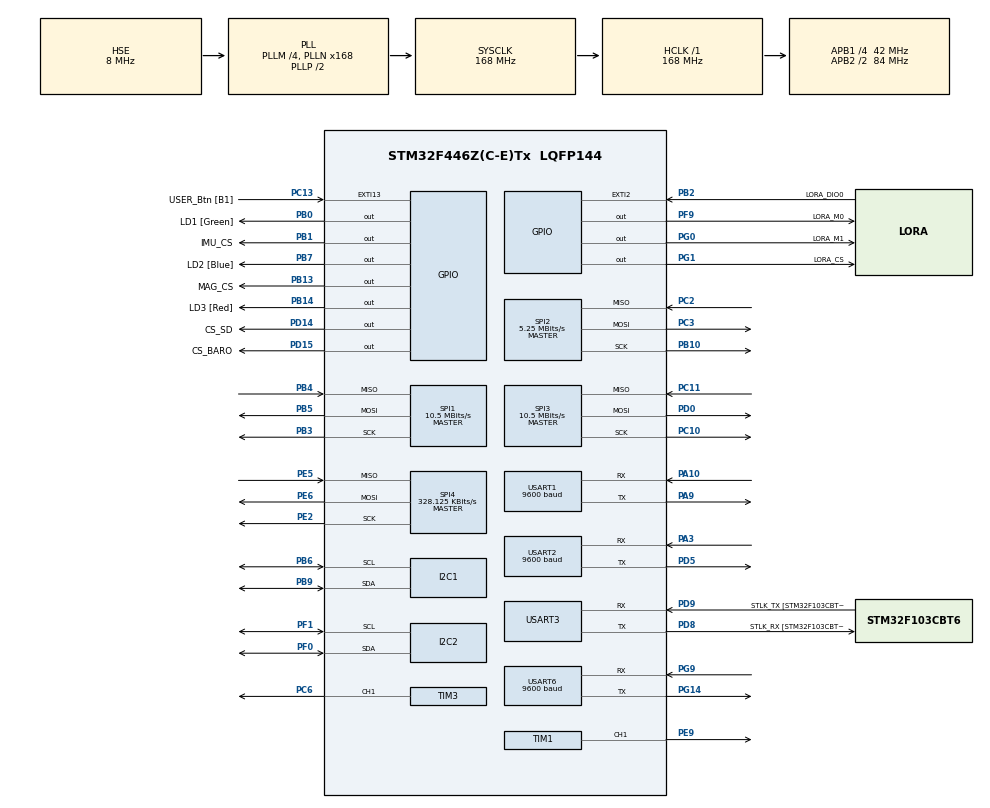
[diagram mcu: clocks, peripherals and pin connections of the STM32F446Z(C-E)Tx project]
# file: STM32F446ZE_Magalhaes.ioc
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Dma.I2C1_RX.5.Direction=DMA_PERIPH_TO_MEMORY
Dma.I2C1_RX.5.FIFOMode=DMA_FIFOMODE_DISABLE
Dma.I2C1_RX.5.Instance=DMA1_Stream0
Dma.I2C1_RX.5.MemDataAlignment=DMA_MDATAALIGN_BYTE
Dma.I2C1_RX.5.MemInc=DMA_MINC_ENABLE
Dma.I2C1_RX.5.Mode=DMA_NORMAL
Dma.I2C1_RX.5.PeriphDataAlignment=DMA_PDATAALIGN_BYTE
Dma.I2C1_RX.5.PeriphInc=DMA_PINC_DISABLE
Dma.I2C1_RX.5.Priority=DMA_PRIORITY_LOW
Dma.I2C1_TX.6.Direction=DMA_MEMORY_TO_PERIPH
Dma.I2C1_TX.6.FIFOMode=DMA_FIFOMODE_DISABLE
Dma.I2C1_TX.6.Instance=DMA1_Stream6
Dma.I2C1_TX.6.MemDataAlignment=DMA_MDATAALIGN_BYTE
Dma.I2C1_TX.6.MemInc=DMA_MINC_ENABLE
Dma.I2C1_TX.6.Mode=DMA_NORMAL
Dma.I2C1_TX.6.PeriphDataAlignment=DMA_PDATAALIGN_BYTE
Dma.I2C1_TX.6.PeriphInc=DMA_PINC_DISABLE
Dma.I2C1_TX.6.Priority=DMA_PRIORITY_LOW
Dma.Request0=SPI2_RX
Dma.Request1=SPI2_TX
Dma.Request10=SPI1_RX
Dma.Request11=SPI1_TX
Dma.Request12=USART2_RX
Dma.Request13=USART6_RX
Dma.Request14=USART6_TX
Dma.Request2=USART3_RX
Dma.Request3=SPI3_RX
Dma.Request4=SPI3_TX
Dma.Request5=I2C1_RX
Dma.Request6=I2C1_TX
Dma.Request7=SPI4_RX
Dma.Request8=SPI4_TX
Dma.Request9=USART1_RX
Dma.SPI1_RX.10.Direction=DMA_PERIPH_TO_MEMORY
Dma.SPI1_RX.10.FIFOMode=DMA_FIFOMODE_DISABLE
Dma.SPI1_RX.10.Instance=DMA2_Stream2
Dma.SPI1_RX.10.MemDataAlignment=DMA_MDATAALIGN_BYTE
Dma.SPI1_RX.10.MemInc=DMA_MINC_ENABLE
Dma.SPI1_RX.10.Mode=DMA_NORMAL
Dma.SPI1_RX.10.PeriphDataAlignment=DMA_PDATAALIGN_BYTE
Dma.SPI1_RX.10.PeriphInc=DMA_PINC_DISABLE
Dma.SPI1_RX.10.Priority=DMA_PRIORITY_LOW
Dma.SPI1_TX.11.Direction=DMA_MEMORY_TO_PERIPH
Dma.SPI1_TX.11.FIFOMode=DMA_FIFOMODE_DISABLE
Dma.SPI1_TX.11.Instance=DMA2_Stream3
Dma.SPI1_TX.11.MemDataAlignment=DMA_MDATAALIGN_BYTE
Dma.SPI1_TX.11.MemInc=DMA_MINC_ENABLE
Dma.SPI1_TX.11.Mode=DMA_NORMAL
Dma.SPI1_TX.11.PeriphDataAlignment=DMA_PDATAALIGN_BYTE
Dma.SPI1_TX.11.PeriphInc=DMA_PINC_DISABLE
Dma.SPI1_TX.11.Priority=DMA_PRIORITY_LOW
Dma.SPI2_RX.0.Direction=DMA_PERIPH_TO_MEMORY
Dma.SPI2_RX.0.FIFOMode=DMA_FIFOMODE_DISABLE
Dma.SPI2_RX.0.Instance=DMA1_Stream3
Dma.SPI2_RX.0.MemDataAlignment=DMA_MDATAALIGN_BYTE
Dma.SPI2_RX.0.MemInc=DMA_MINC_ENABLE
Dma.SPI2_RX.0.Mode=DMA_NORMAL
Dma.SPI2_RX.0.PeriphDataAlignment=DMA_PDATAALIGN_BYTE
Dma.SPI2_RX.0.PeriphInc=DMA_PINC_DISABLE
Dma.SPI2_RX.0.Priority=DMA_PRIORITY_LOW
Dma.SPI2_TX.1.Direction=DMA_MEMORY_TO_PERIPH
Dma.SPI2_TX.1.FIFOMode=DMA_FIFOMODE_DISABLE
Dma.SPI2_TX.1.Instance=DMA1_Stream4
Dma.SPI2_TX.1.MemDataAlignment=DMA_MDATAALIGN_BYTE
Dma.SPI2_TX.1.MemInc=DMA_MINC_ENABLE
Dma.SPI2_TX.1.Mode=DMA_NORMAL
Dma.SPI2_TX.1.PeriphDataAlignment=DMA_PDATAALIGN_BYTE
Dma.SPI2_TX.1.PeriphInc=DMA_PINC_DISABLE
Dma.SPI2_TX.1.Priority=DMA_PRIORITY_LOW
Dma.SPI3_RX.3.Direction=DMA_PERIPH_TO_MEMORY
Dma.SPI3_RX.3.FIFOMode=DMA_FIFOMODE_DISABLE
Dma.SPI3_RX.3.Instance=DMA1_Stream2
Dma.SPI3_RX.3.MemDataAlignment=DMA_MDATAALIGN_BYTE
Dma.SPI3_RX.3.MemInc=DMA_MINC_ENABLE
Dma.SPI3_RX.3.Mode=DMA_NORMAL
Dma.SPI3_RX.3.PeriphDataAlignment=DMA_PDATAALIGN_BYTE
Dma.SPI3_RX.3.PeriphInc=DMA_PINC_DISABLE
Dma.SPI3_RX.3.Priority=DMA_PRIORITY_LOW
Dma.SPI3_TX.4.Direction=DMA_MEMORY_TO_PERIPH
Dma.SPI3_TX.4.FIFOMode=DMA_FIFOMODE_DISABLE
Dma.SPI3_TX.4.Instance=DMA1_Stream7
Dma.SPI3_TX.4.MemDataAlignment=DMA_MDATAALIGN_BYTE
Dma.SPI3_TX.4.MemInc=DMA_MINC_ENABLE
Dma.SPI3_TX.4.Mode=DMA_NORMAL
Dma.SPI3_TX.4.PeriphDataAlignment=DMA_PDATAALIGN_BYTE
Dma.SPI3_TX.4.PeriphInc=DMA_PINC_DISABLE
Dma.SPI3_TX.4.Priority=DMA_PRIORITY_LOW
Dma.SPI4_RX.7.Direction=DMA_PERIPH_TO_MEMORY
Dma.SPI4_RX.7.FIFOMode=DMA_FIFOMODE_DISABLE
Dma.SPI4_RX.7.Instance=DMA2_Stream0
Dma.SPI4_RX.7.MemDataAlignment=DMA_MDATAALIGN_BYTE
Dma.SPI4_RX.7.MemInc=DMA_MINC_ENABLE
Dma.SPI4_RX.7.Mode=DMA_NORMAL
Dma.SPI4_RX.7.PeriphDataAlignment=DMA_PDATAALIGN_BYTE
Dma.SPI4_RX.7.PeriphInc=DMA_PINC_DISABLE
Dma.SPI4_RX.7.Priority=DMA_PRIORITY_LOW
Dma.SPI4_TX.8.Direction=DMA_MEMORY_TO_PERIPH
Dma.SPI4_TX.8.FIFOMode=DMA_FIFOMODE_DISABLE
Dma.SPI4_TX.8.Instance=DMA2_Stream4
Dma.SPI4_TX.8.MemDataAlignment=DMA_MDATAALIGN_BYTE
Dma.SPI4_TX.8.MemInc=DMA_MINC_ENABLE
Dma.SPI4_TX.8.Mode=DMA_NORMAL
Dma.SPI4_TX.8.PeriphDataAlignment=DMA_PDATAALIGN_BYTE
Dma.SPI4_TX.8.PeriphInc=DMA_PINC_DISABLE
Dma.SPI4_TX.8.Priority=DMA_PRIORITY_LOW
Dma.USART1_RX.9.Direction=DMA_PERIPH_TO_MEMORY
Dma.USART1_RX.9.FIFOMode=DMA_FIFOMODE_DISABLE
Dma.USART1_RX.9.Instance=DMA2_Stream5
Dma.USART1_RX.9.MemDataAlignment=DMA_MDATAALIGN_BYTE
Dma.USART1_RX.9.MemInc=DMA_MINC_ENABLE
Dma.USART1_RX.9.Mode=DMA_CIRCULAR
Dma.USART1_RX.9.PeriphDataAlignment=DMA_PDATAALIGN_BYTE
Dma.USART1_RX.9.PeriphInc=DMA_PINC_DISABLE
Dma.USART1_RX.9.Priority=DMA_PRIORITY_LOW
Dma.USART2_RX.12.Direction=DMA_PERIPH_TO_MEMORY
Dma.USART2_RX.12.FIFOMode=DMA_FIFOMODE_DISABLE
Dma.USART2_RX.12.Instance=DMA1_Stream5
Dma.USART2_RX.12.MemDataAlignment=DMA_MDATAALIGN_BYTE
Dma.USART2_RX.12.MemInc=DMA_MINC_ENABLE
Dma.USART2_RX.12.Mode=DMA_CIRCULAR
Dma.USART2_RX.12.PeriphDataAlignment=DMA_PDATAALIGN_BYTE
Dma.USART2_RX.12.PeriphInc=DMA_PINC_DISABLE
Dma.USART2_RX.12.Priority=DMA_PRIORITY_MEDIUM
Dma.USART3_RX.2.Direction=DMA_PERIPH_TO_MEMORY
Dma.USART3_RX.2.FIFOMode=DMA_FIFOMODE_DISABLE
Dma.USART3_RX.2.Instance=DMA1_Stream1
Dma.USART3_RX.2.MemDataAlignment=DMA_MDATAALIGN_BYTE
Dma.USART3_RX.2.MemInc=DMA_MINC_ENABLE
Dma.USART3_RX.2.Mode=DMA_CIRCULAR
Dma.USART3_RX.2.PeriphDataAlignment=DMA_PDATAALIGN_BYTE
Dma.USART3_RX.2.PeriphInc=DMA_PINC_DISABLE
Dma.USART3_RX.2.Priority=DMA_PRIORITY_LOW
Dma.USART6_RX.13.Direction=DMA_PERIPH_TO_MEMORY
Dma.USART6_RX.13.FIFOMode=DMA_FIFOMODE_DISABLE
Dma.USART6_RX.13.Instance=DMA2_Stream1
Dma.USART6_RX.13.MemDataAlignment=DMA_MDATAALIGN_BYTE
Dma.USART6_RX.13.MemInc=DMA_MINC_ENABLE
Dma.USART6_RX.13.Mode=DMA_CIRCULAR
Dma.USART6_RX.13.PeriphDataAlignment=DMA_PDATAALIGN_BYTE
Dma.USART6_RX.13.PeriphInc=DMA_PINC_DISABLE
Dma.USART6_RX.13.Priority=DMA_PRIORITY_MEDIUM
Dma.USART6_TX.14.Direction=DMA_MEMORY_TO_PERIPH
Dma.USART6_TX.14.FIFOMode=DMA_FIFOMODE_DISABLE
Dma.USART6_TX.14.Instance=DMA2_Stream6
Dma.USART6_TX.14.MemDataAlignment=DMA_MDATAALIGN_BYTE
Dma.USART6_TX.14.MemInc=DMA_MINC_ENABLE
Dma.USART6_TX.14.Mode=DMA_NORMAL
Dma.USART6_TX.14.PeriphDataAlignment=DMA_PDATAALIGN_BYTE
Dma.USART6_TX.14.PeriphInc=DMA_PINC_DISABLE
Dma.USART6_TX.14.Priority=DMA_PRIORITY_LOW
FATFS._FS_LOCK=15
FATFS._FS_NORTC=1
FATFS._MAX_SS=4096
FATFS._USE_LFN=2
FATFS._USE_MUTEX=1
FREERTOS.Tasks01=defaultTask,24,128,StartDefaultTask,Default,NULL,Dynamic,NULL,NULL
FREERTOS.configENABLE_FPU=1
FREERTOS.configGENERATE_RUN_TIME_STATS=1
FREERTOS.configMAX_TASK_NAME_LEN=32
FREERTOS.configQUEUE_REGISTRY_SIZE=16
FREERTOS.configRECORD_STACK_HIGH_ADDRESS=1
FREERTOS.configTOTAL_HEAP_SIZE=55000
FREERTOS.configUSE_NEWLIB_REENTRANT=1
I2C1.I2C_Mode=I2C_Fast
I2C2.I2C_Mode=I2C_Fast
Mcu.Family=STM32F4
Mcu.Name=STM32F446Z(C-E)Tx
Mcu.Package=LQFP144
NVIC.DMA1_Stream0_IRQn=true\:5\:0\:false\:false\:true\:true\:false\:true\:true
NVIC.DMA1_Stream1_IRQn=true\:5\:0\:false\:false\:true\:true\:false\:true\:true
NVIC.DMA1_Stream2_IRQn=true\:5\:0\:false\:false\:true\:true\:false\:true\:true
NVIC.DMA1_Stream3_IRQn=true\:5\:0\:false\:false\:true\:true\:false\:true\:true
NVIC.DMA1_Stream4_IRQn=true\:5\:0\:false\:false\:true\:true\:false\:true\:true
NVIC.DMA1_Stream5_IRQn=true\:5\:0\:false\:false\:true\:true\:false\:true\:true
NVIC.DMA1_Stream6_IRQn=true\:5\:0\:false\:false\:true\:true\:false\:true\:true
NVIC.DMA1_Stream7_IRQn=true\:5\:0\:false\:false\:true\:false\:false\:true\:true
NVIC.DMA2_Stream0_IRQn=true\:5\:0\:false\:false\:true\:true\:false\:true\:true
NVIC.DMA2_Stream1_IRQn=true\:5\:0\:false\:false\:true\:true\:false\:true\:true
NVIC.DMA2_Stream2_IRQn=true\:5\:0\:false\:false\:true\:true\:false\:true\:true
NVIC.DMA2_Stream3_IRQn=true\:5\:0\:false\:false\:true\:true\:false\:true\:true
NVIC.DMA2_Stream4_IRQn=true\:5\:0\:false\:false\:true\:false\:false\:true\:true
NVIC.DMA2_Stream5_IRQn=true\:5\:0\:false\:false\:true\:true\:false\:true\:true
NVIC.DMA2_Stream6_IRQn=true\:5\:0\:false\:false\:true\:true\:false\:true\:true
NVIC.EXTI15_10_IRQn=true\:5\:0\:false\:false\:true\:true\:true\:true\:true
NVIC.EXTI2_IRQn=true\:5\:0\:true\:false\:true\:true\:true\:true\:true
NVIC.I2C1_EV_IRQn=true\:5\:0\:false\:false\:true\:true\:true\:true\:true
NVIC.PriorityGroup=NVIC_PRIORITYGROUP_4
NVIC.SPI1_IRQn=true\:5\:0\:false\:false\:true\:true\:true\:true\:true
NVIC.SPI3_IRQn=true\:5\:0\:false\:false\:true\:true\:true\:true\:true
NVIC.SPI4_IRQn=true\:5\:0\:false\:false\:true\:true\:true\:true\:true
NVIC.TIM2_IRQn=true\:5\:0\:false\:false\:true\:true\:true\:true\:true
NVIC.TIM4_IRQn=true\:15\:0\:false\:false\:true\:false\:false\:true\:true
NVIC.TimeBase=TIM4_IRQn
NVIC.TimeBaseIP=TIM4
NVIC.USART1_IRQn=true\:5\:0\:false\:false\:true\:true\:true\:true\:true
NVIC.USART2_IRQn=true\:5\:0\:false\:false\:true\:true\:true\:true\:true
NVIC.USART3_IRQn=true\:5\:0\:false\:false\:true\:true\:true\:true\:true
NVIC.USART6_IRQn=true\:5\:0\:false\:false\:true\:true\:true\:true\:true
PA10.Mode=Asynchronous
PA10.Signal=USART1_RX
PA13.GPIO_Label=TMS
PA13.Mode=Serial_Wire
PA13.Signal=SYS_JTMS-SWDIO
PA14.GPIO_Label=TCK
PA14.Mode=Serial_Wire
PA14.Signal=SYS_JTCK-SWCLK
PA3.Mode=Asynchronous
PA3.Signal=USART2_RX
PA9.Mode=Asynchronous
PA9.Signal=USART1_TX
PB0.GPIO_Label=LD1 [Green]
PB0.Signal=GPIO_Output
PB1.GPIO_Label=IMU_CS
PB1.GPIO_ModeDefaultOutputPP=GPIO_MODE_OUTPUT_PP
PB1.GPIO_Speed=GPIO_SPEED_FREQ_VERY_HIGH
PB1.PinState=GPIO_PIN_RESET
PB1.Signal=GPIO_Output
PB10.Mode=Full_Duplex_Master
PB10.Signal=SPI2_SCK
PB13.GPIO_Label=MAG_CS
PB13.GPIO_Speed=GPIO_SPEED_FREQ_VERY_HIGH
PB13.PinState=GPIO_PIN_SET
PB13.Signal=GPIO_Output
PB14.GPIO_Label=LD3 [Red]
PB14.Signal=GPIO_Output
PB2.GPIO_Label=LORA_DIO0
PB2.GPIO_PuPd=GPIO_NOPULL
PB2.Signal=GPXTI2
PB3.GPIO_PuPd=GPIO_NOPULL
PB3.Mode=Full_Duplex_Master
PB3.Signal=SPI1_SCK
PB4.GPIO_PuPd=GPIO_NOPULL
PB4.Mode=Full_Duplex_Master
PB4.Signal=SPI1_MISO
PB5.GPIO_PuPd=GPIO_NOPULL
PB5.Mode=Full_Duplex_Master
PB5.Signal=SPI1_MOSI
PB6.GPIO_Pu=GPIO_PULLUP
PB6.Mode=I2C
PB6.Signal=I2C1_SCL
PB7.GPIO_Label=LD2 [Blue]
PB7.Signal=GPIO_Output
PB9.GPIO_Pu=GPIO_NOPULL
PB9.Mode=I2C
PB9.Signal=I2C1_SDA
PC10.Mode=Full_Duplex_Master
PC10.Signal=SPI3_SCK
PC11.Mode=Full_Duplex_Master
PC11.Signal=SPI3_MISO
PC13.GPIO_Label=USER_Btn [B1]
PC13.Signal=GPXTI13
PC2.Mode=Full_Duplex_Master
PC2.Signal=SPI2_MISO
PC3.Mode=Full_Duplex_Master
PC3.Signal=SPI2_MOSI
PC6.Signal=S_TIM3_CH1
PD0.Mode=Full_Duplex_Master
PD0.Signal=SPI3_MOSI
PD14.GPIO_Label=CS_SD
PD14.Signal=GPIO_Output
PD15.GPIO_Label=CS_BARO
PD15.Signal=GPIO_Output
PD5.Mode=Asynchronous
PD5.Signal=USART2_TX
PD8.GPIO_Label=STLK_RX [STM32F103CBT6_PA3]
PD8.Mode=Asynchronous
PD8.Signal=USART3_TX
PD9.GPIO_Label=STLK_TX [STM32F103CBT6_PA2]
PD9.Mode=Asynchronous
PD9.Signal=USART3_RX
PE2.GPIO_PuPd=GPIO_PULLUP
PE2.Mode=Full_Duplex_Master
PE2.Signal=SPI4_SCK
PE5.GPIO_PuPd=GPIO_PULLUP
PE5.Mode=Full_Duplex_Master
PE5.Signal=SPI4_MISO
PE6.GPIO_PuPd=GPIO_PULLUP
PE6.Mode=Full_Duplex_Master
PE6.Signal=SPI4_MOSI
PE9.Signal=S_TIM1_CH1
PF0.GPIO_Pu=GPIO_PULLUP
PF0.Mode=I2C
PF0.Signal=I2C2_SDA
PF1.GPIO_Pu=GPIO_PULLUP
PF1.Mode=I2C
PF1.Signal=I2C2_SCL
PF9.GPIO_Label=LORA_M0
PF9.GPIO_Speed=GPIO_SPEED_FREQ_VERY_HIGH
PF9.PinState=GPIO_PIN_SET
PF9.Signal=GPIO_Output
PG0.GPIO_Label=LORA_M1
PG0.GPIO_Speed=GPIO_SPEED_FREQ_VERY_HIGH
PG0.PinState=GPIO_PIN_SET
PG0.Signal=GPIO_Output
PG1.GPIO_Label=LORA_CS
PG1.GPIO_Speed=GPIO_SPEED_FREQ_VERY_HIGH
PG1.PinState=GPIO_PIN_SET
PG1.Signal=GPIO_Output
PG14.Mode=Asynchronous
PG14.Signal=USART6_TX
PG9.Mode=Asynchronous
PG9.Signal=USART6_RX
PH0-OSC_IN.GPIO_Label=MCO [STM32F103CBT6_PA8]
PH0-OSC_IN.Mode=HSE-External-Clock-Source
PH0-OSC_IN.Signal=RCC_OSC_IN
PH1-OSC_OUT.Mode=HSE-External-Clock-Source
PH1-OSC_OUT.Signal=RCC_OSC_OUT
ProjectManager.HeapSize=0x200
ProjectManager.StackSize=0x400
ProjectManager.TargetToolchain=STM32CubeIDE
RCC.48MHZClocksFreq_Value=24000000
RCC.AHBFreq_Value=168000000
RCC.APB1CLKDivider=RCC_HCLK_DIV4
RCC.APB1Freq_Value=42000000
RCC.APB1TimFreq_Value=84000000
RCC.APB2CLKDivider=RCC_HCLK_DIV2
RCC.APB2Freq_Value=84000000
RCC.APB2TimFreq_Value=168000000
RCC.CortexFreq_Value=168000000
RCC.HCLKFreq_Value=168000000
RCC.HSE_VALUE=8000000
RCC.HSI_VALUE=16000000
RCC.PLLM=4
RCC.PLLMUL=RCC_PLL_MUL9
RCC.PLLN=168
RCC.PLLQ=7
RCC.PLLSourceVirtual=RCC_PLLSOURCE_HSE
RCC.PRESCALERUSB=RCC_USBCLKSOURCE_PLL_DIV1_5
RCC.SYSCLKFreq_VALUE=168000000
RCC.SYSCLKSource=RCC_SYSCLKSOURCE_PLLCLK
RCC.SYSCLKSourceVirtual=RCC_SYSCLKSOURCE_PLLCLK
RCC.USBFreq_Value=48000000
RCC.VCOOutputFreq_Value=336000000
SH.S_TIM1_CH1.0=TIM1_CH1,PWM Generation1 CH1
SH.S_TIM3_CH1.0=TIM3_CH1,PWM Generation1 CH1
SPI1.BaudRatePrescaler=SPI_BAUDRATEPRESCALER_8
SPI1.CLKPhase=SPI_PHASE_2EDGE
SPI1.CLKPolarity=SPI_POLARITY_HIGH
SPI1.CalculateBaudRate=10.5 MBits/s
SPI1.Direction=SPI_DIRECTION_2LINES
SPI1.Mode=SPI_MODE_MASTER
SPI1.VirtualType=VM_MASTER
SPI2.BaudRatePrescaler=SPI_BAUDRATEPRESCALER_8
SPI2.CalculateBaudRate=5.25 MBits/s
SPI2.Direction=SPI_DIRECTION_2LINES
SPI2.Mode=SPI_MODE_MASTER
SPI2.VirtualType=VM_MASTER
SPI3.BaudRatePrescaler=SPI_BAUDRATEPRESCALER_4
SPI3.CLKPhase=SPI_PHASE_1EDGE
SPI3.CLKPolarity=SPI_POLARITY_LOW
SPI3.CalculateBaudRate=10.5 MBits/s
SPI3.Direction=SPI_DIRECTION_2LINES
SPI3.Mode=SPI_MODE_MASTER
SPI3.VirtualType=VM_MASTER
SPI4.BaudRatePrescaler=SPI_BAUDRATEPRESCALER_256
SPI4.CalculateBaudRate=328.125 KBits/s
SPI4.Direction=SPI_DIRECTION_2LINES
SPI4.Mode=SPI_MODE_MASTER
SPI4.VirtualType=VM_MASTER
TIM1.Channel-PWM\ Generation1\ CH1=TIM_CHANNEL_1
TIM1.Period=20000
TIM1.Prescaler=167
TIM1.Pulse-PWM\ Generation1\ CH1=1500
TIM2.AutoReloadPreload=TIM_AUTORELOAD_PRELOAD_ENABLE
TIM2.Period=1000
TIM2.Prescaler=83
TIM3.Channel-PWM\ Generation1\ CH1=TIM_CHANNEL_1
TIM3.Period=20000-1
TIM3.Prescaler=84-1
TIM3.Pulse-PWM\ Generation1\ CH1=0
USART1.BaudRate=9600
USART1.VirtualMode=VM_ASYNC
USART2.BaudRate=9600
USART2.VirtualMode=VM_ASYNC
USART3.VirtualMode=VM_ASYNC
USART6.BaudRate=9600
USART6.VirtualMode=VM_ASYNC
VP_FATFS_VS_Generic.Mode=User_defined
VP_FREERTOS_VS_CMSIS_V2.Mode=CMSIS_V2
VP_SYS_VS_tim4.Mode=TIM4
VP_TIM1_VS_ClockSourceINT.Mode=Internal
VP_TIM2_VS_ClockSourceINT.Mode=Internal
VP_TIM3_VS_ClockSourceINT.Mode=Internal
board=NUCLEO-F446ZE

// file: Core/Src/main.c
/* USER CODE BEGIN Header */
/**
  ******************************************************************************
  * @file           : main.c
  * @brief          : Main program body
  ******************************************************************************
  * @attention
  *
  * Copyright (c) 2025 STMicroelectronics.
  * All rights reserved.
  *
  * This software is licensed under terms that can be found in the LICENSE file
  * in the root directory of this software component.
  * If no LICENSE file comes with this software, it is provided AS-IS.
  *
  ******************************************************************************
  */
/* USER CODE END Header */
#include "main.h"
#include "cmsis_os.h"
#include "fatfs.h"

/* USER CODE BEGIN Includes */
#include "Flight Computer/flight_computer.h"
#include "Threads/create_threads.h"
#include "retarget.h"
#include "Data Handler/flash_data_handler.h"
/* USER CODE END Includes */

I2C_HandleTypeDef hi2c1;
I2C_HandleTypeDef hi2c2;
DMA_HandleTypeDef hdma_i2c1_rx;
DMA_HandleTypeDef hdma_i2c1_tx;

SPI_HandleTypeDef hspi1;
SPI_HandleTypeDef hspi2;
SPI_HandleTypeDef hspi3;
SPI_HandleTypeDef hspi4;
DMA_HandleTypeDef hdma_spi1_rx;
DMA_HandleTypeDef hdma_spi1_tx;
DMA_HandleTypeDef hdma_spi2_rx;
DMA_HandleTypeDef hdma_spi2_tx;
DMA_HandleTypeDef hdma_spi3_rx;
DMA_HandleTypeDef hdma_spi3_tx;
DMA_HandleTypeDef hdma_spi4_rx;
DMA_HandleTypeDef hdma_spi4_tx;

TIM_HandleTypeDef htim1;
TIM_HandleTypeDef htim2;
TIM_HandleTypeDef htim3;

UART_HandleTypeDef huart1;
UART_HandleTypeDef huart2;
UART_HandleTypeDef huart3;
UART_HandleTypeDef huart6;
DMA_HandleTypeDef hdma_usart1_rx;
DMA_HandleTypeDef hdma_usart2_rx;
DMA_HandleTypeDef hdma_usart3_rx;
DMA_HandleTypeDef hdma_usart6_rx;
DMA_HandleTypeDef hdma_usart6_tx;

/* Definitions for defaultTask */
osThreadId_t defaultTaskHandle;
const osThreadAttr_t defaultTask_attributes = {
  .name = "defaultTask",
  .stack_size = 128 * 4,
  .priority = (osPriority_t) osPriorityNormal,
};

void SystemClock_Config(void);
static void MX_GPIO_Init(void);
static void MX_DMA_Init(void);
static void MX_USART3_UART_Init(void);
static void MX_SPI1_Init(void);
static void MX_SPI2_Init(void);
static void MX_I2C1_Init(void);
static void MX_TIM1_Init(void);
static void MX_TIM2_Init(void);
static void MX_TIM3_Init(void);
static void MX_USART1_UART_Init(void);
static void MX_SPI3_Init(void);
static void MX_SPI4_Init(void);
static void MX_USART2_UART_Init(void);
static void MX_USART6_UART_Init(void);
static void MX_I2C2_Init(void);
void StartDefaultTask(void *argument);

int main(void)
{

  /* MCU Configuration--------------------------------------------------------*/

  /* Reset of all peripherals, Initializes the Flash interface and the Systick. */
  HAL_Init();

  /* Configure the system clock */
  SystemClock_Config();

  /* Initialize all configured peripherals */
  MX_GPIO_Init();
  MX_DMA_Init();
  MX_USART3_UART_Init();
  MX_FATFS_Init();
  MX_SPI1_Init();
  MX_SPI2_Init();
  MX_I2C1_Init();
  MX_TIM1_Init();
  MX_TIM2_Init();
  MX_TIM3_Init();
  MX_USART1_UART_Init();
  MX_SPI3_Init();
  MX_SPI4_Init();
  MX_USART2_UART_Init();
  MX_USART6_UART_Init();
  MX_I2C2_Init();
  /* USER CODE BEGIN 2 */
  // PWM Debug Test at startup - check PC6 output with oscilloscope
  // Comment out after debugging!
  //extern void PWM_DebugTest(void);
  //PWM_DebugTest();
  /* USER CODE END 2 */

  /* Init scheduler */
  osKernelInitialize();

  /* Create the thread(s) */
  /* creation of defaultTask */
  defaultTaskHandle = osThreadNew(StartDefaultTask, NULL, &defaultTask_attributes);

  /* USER CODE BEGIN RTOS_THREADS */
  /* add threads, ... */
  RetargetInit(UART_DEBUG);
  //fsm_init(); // MOVER PARA A THREAD????
  create_threads();
  /* USER CODE END RTOS_THREADS */

  /* Start scheduler */
  osKernelStart();

  /* We should never get here as control is now taken by the scheduler */

  /* Infinite loop */
  while (1)
  {

  }
}

void SystemClock_Config(void)
{
  RCC_OscInitTypeDef RCC_OscInitStruct = {0};
  RCC_ClkInitTypeDef RCC_ClkInitStruct = {0};

  /** Configure the main internal regulator output voltage
  */
  __HAL_RCC_PWR_CLK_ENABLE();
  __HAL_PWR_VOLTAGESCALING_CONFIG(PWR_REGULATOR_VOLTAGE_SCALE1);

  /** Initializes the RCC Oscillators according to the specified parameters
  * in the RCC_OscInitTypeDef structure.
  */
  RCC_OscInitStruct.OscillatorType = RCC_OSCILLATORTYPE_HSE;
  RCC_OscInitStruct.HSEState = RCC_HSE_BYPASS;
  RCC_OscInitStruct.PLL.PLLState = RCC_PLL_ON;
  RCC_OscInitStruct.PLL.PLLSource = RCC_PLLSOURCE_HSE;
  RCC_OscInitStruct.PLL.PLLM = 4;
  RCC_OscInitStruct.PLL.PLLN = 168;
  RCC_OscInitStruct.PLL.PLLP = RCC_PLLP_DIV2;
  RCC_OscInitStruct.PLL.PLLQ = 7;
  RCC_OscInitStruct.PLL.PLLR = 2;
  if (HAL_RCC_OscConfig(&RCC_OscInitStruct) != HAL_OK)
  {
    Error_Handler();
  }

  /** Initializes the CPU, AHB and APB buses clocks
  */
  RCC_ClkInitStruct.ClockType = RCC_CLOCKTYPE_HCLK|RCC_CLOCKTYPE_SYSCLK
                              |RCC_CLOCKTYPE_PCLK1|RCC_CLOCKTYPE_PCLK2;
  RCC_ClkInitStruct.SYSCLKSource = RCC_SYSCLKSOURCE_PLLCLK;
  RCC_ClkInitStruct.AHBCLKDivider = RCC_SYSCLK_DIV1;
  RCC_ClkInitStruct.APB1CLKDivider = RCC_HCLK_DIV4;
  RCC_ClkInitStruct.APB2CLKDivider = RCC_HCLK_DIV2;

  if (HAL_RCC_ClockConfig(&RCC_ClkInitStruct, FLASH_LATENCY_5) != HAL_OK)
  {
    Error_Handler();
  }
}

static void MX_I2C1_Init(void)
{

  hi2c1.Instance = I2C1;
  hi2c1.Init.ClockSpeed = 400000;
  hi2c1.Init.DutyCycle = I2C_DUTYCYCLE_2;
  hi2c1.Init.OwnAddress1 = 0;
  hi2c1.Init.AddressingMode = I2C_ADDRESSINGMODE_7BIT;
  hi2c1.Init.DualAddressMode = I2C_DUALADDRESS_DISABLE;
  hi2c1.Init.OwnAddress2 = 0;
  hi2c1.Init.GeneralCallMode = I2C_GENERALCALL_DISABLE;
  hi2c1.Init.NoStretchMode = I2C_NOSTRETCH_DISABLE;
  if (HAL_I2C_Init(&hi2c1) != HAL_OK)
  {
    Error_Handler();
  }

}

static void MX_I2C2_Init(void)
{

  hi2c2.Instance = I2C2;
  hi2c2.Init.ClockSpeed = 400000;
  hi2c2.Init.DutyCycle = I2C_DUTYCYCLE_2;
  hi2c2.Init.OwnAddress1 = 0;
  hi2c2.Init.AddressingMode = I2C_ADDRESSINGMODE_7BIT;
  hi2c2.Init.DualAddressMode = I2C_DUALADDRESS_DISABLE;
  hi2c2.Init.OwnAddress2 = 0;
  hi2c2.Init.GeneralCallMode = I2C_GENERALCALL_DISABLE;
  hi2c2.Init.NoStretchMode = I2C_NOSTRETCH_DISABLE;
  if (HAL_I2C_Init(&hi2c2) != HAL_OK)
  {
    Error_Handler();
  }

}

static void MX_SPI1_Init(void)
{

  /* SPI1 parameter configuration*/
  hspi1.Instance = SPI1;
  hspi1.Init.Mode = SPI_MODE_MASTER;
  hspi1.Init.Direction = SPI_DIRECTION_2LINES;
  hspi1.Init.DataSize = SPI_DATASIZE_8BIT;
  hspi1.Init.CLKPolarity = SPI_POLARITY_HIGH;
  hspi1.Init.CLKPhase = SPI_PHASE_2EDGE;
  hspi1.Init.NSS = SPI_NSS_SOFT;
  hspi1.Init.BaudRatePrescaler = SPI_BAUDRATEPRESCALER_8;
  hspi1.Init.FirstBit = SPI_FIRSTBIT_MSB;
  hspi1.Init.TIMode = SPI_TIMODE_DISABLE;
  hspi1.Init.CRCCalculation = SPI_CRCCALCULATION_DISABLE;
  hspi1.Init.CRCPolynomial = 10;
  if (HAL_SPI_Init(&hspi1) != HAL_OK)
  {
    Error_Handler();
  }

}

static void MX_SPI2_Init(void)
{

  /* SPI2 parameter configuration*/
  hspi2.Instance = SPI2;
  hspi2.Init.Mode = SPI_MODE_MASTER;
  hspi2.Init.Direction = SPI_DIRECTION_2LINES;
  hspi2.Init.DataSize = SPI_DATASIZE_8BIT;
  hspi2.Init.CLKPolarity = SPI_POLARITY_LOW;
  hspi2.Init.CLKPhase = SPI_PHASE_1EDGE;
  hspi2.Init.NSS = SPI_NSS_SOFT;
  hspi2.Init.BaudRatePrescaler = SPI_BAUDRATEPRESCALER_8;
  hspi2.Init.FirstBit = SPI_FIRSTBIT_MSB;
  hspi2.Init.TIMode = SPI_TIMODE_DISABLE;
  hspi2.Init.CRCCalculation = SPI_CRCCALCULATION_DISABLE;
  hspi2.Init.CRCPolynomial = 10;
  if (HAL_SPI_Init(&hspi2) != HAL_OK)
  {
    Error_Handler();
  }

}

static void MX_SPI3_Init(void)
{

  /* SPI3 parameter configuration*/
  hspi3.Instance = SPI3;
  hspi3.Init.Mode = SPI_MODE_MASTER;
  hspi3.Init.Direction = SPI_DIRECTION_2LINES;
  hspi3.Init.DataSize = SPI_DATASIZE_8BIT;
  hspi3.Init.CLKPolarity = SPI_POLARITY_LOW;
  hspi3.Init.CLKPhase = SPI_PHASE_1EDGE;
  hspi3.Init.NSS = SPI_NSS_SOFT;
  hspi3.Init.BaudRatePrescaler = SPI_BAUDRATEPRESCALER_4;
  hspi3.Init.FirstBit = SPI_FIRSTBIT_MSB;
  hspi3.Init.TIMode = SPI_TIMODE_DISABLE;
  hspi3.Init.CRCCalculation = SPI_CRCCALCULATION_DISABLE;
  hspi3.Init.CRCPolynomial = 10;
  if (HAL_SPI_Init(&hspi3) != HAL_OK)
  {
    Error_Handler();
  }

}

static void MX_SPI4_Init(void)
{

  /* SPI4 parameter configuration*/
  hspi4.Instance = SPI4;
  hspi4.Init.Mode = SPI_MODE_MASTER;
  hspi4.Init.Direction = SPI_DIRECTION_2LINES;
  hspi4.Init.DataSize = SPI_DATASIZE_8BIT;
  hspi4.Init.CLKPolarity = SPI_POLARITY_LOW;
  hspi4.Init.CLKPhase = SPI_PHASE_1EDGE;
  hspi4.Init.NSS = SPI_NSS_SOFT;
  hspi4.Init.BaudRatePrescaler = SPI_BAUDRATEPRESCALER_256;
  hspi4.Init.FirstBit = SPI_FIRSTBIT_MSB;
  hspi4.Init.TIMode = SPI_TIMODE_DISABLE;
  hspi4.Init.CRCCalculation = SPI_CRCCALCULATION_DISABLE;
  hspi4.Init.CRCPolynomial = 10;
  if (HAL_SPI_Init(&hspi4) != HAL_OK)
  {
    Error_Handler();
  }

}

static void MX_TIM1_Init(void)
{

  TIM_ClockConfigTypeDef sClockSourceConfig = {0};
  TIM_MasterConfigTypeDef sMasterConfig = {0};
  TIM_OC_InitTypeDef sConfigOC = {0};
  TIM_BreakDeadTimeConfigTypeDef sBreakDeadTimeConfig = {0};

  htim1.Instance = TIM1;
  htim1.Init.Prescaler = 167;
  htim1.Init.CounterMode = TIM_COUNTERMODE_UP;
  htim1.Init.Period = 20000;
  htim1.Init.ClockDivision = TIM_CLOCKDIVISION_DIV1;
  htim1.Init.RepetitionCounter = 0;
  htim1.Init.AutoReloadPreload = TIM_AUTORELOAD_PRELOAD_DISABLE;
  if (HAL_TIM_Base_Init(&htim1) != HAL_OK)
  {
    Error_Handler();
  }
  sClockSourceConfig.ClockSource = TIM_CLOCKSOURCE_INTERNAL;
  if (HAL_TIM_ConfigClockSource(&htim1, &sClockSourceConfig) != HAL_OK)
  {
    Error_Handler();
  }
  if (HAL_TIM_PWM_Init(&htim1) != HAL_OK)
  {
    Error_Handler();
  }
  sMasterConfig.MasterOutputTrigger = TIM_TRGO_RESET;
  sMasterConfig.MasterSlaveMode = TIM_MASTERSLAVEMODE_DISABLE;
  if (HAL_TIMEx_MasterConfigSynchronization(&htim1, &sMasterConfig) != HAL_OK)
  {
    Error_Handler();
  }
  sConfigOC.OCMode = TIM_OCMODE_PWM1;
  sConfigOC.Pulse = 1500;
  sConfigOC.OCPolarity = TIM_OCPOLARITY_HIGH;
  sConfigOC.OCNPolarity = TIM_OCNPOLARITY_HIGH;
  sConfigOC.OCFastMode = TIM_OCFAST_DISABLE;
  sConfigOC.OCIdleState = TIM_OCIDLESTATE_RESET;
  sConfigOC.OCNIdleState = TIM_OCNIDLESTATE_RESET;
  if (HAL_TIM_PWM_ConfigChannel(&htim1, &sConfigOC, TIM_CHANNEL_1) != HAL_OK)
  {
    Error_Handler();
  }
  sBreakDeadTimeConfig.OffStateRunMode = TIM_OSSR_DISABLE;
  sBreakDeadTimeConfig.OffStateIDLEMode = TIM_OSSI_DISABLE;
  sBreakDeadTimeConfig.LockLevel = TIM_LOCKLEVEL_OFF;
  sBreakDeadTimeConfig.DeadTime = 0;
  sBreakDeadTimeConfig.BreakState = TIM_BREAK_DISABLE;
  sBreakDeadTimeConfig.BreakPolarity = TIM_BREAKPOLARITY_HIGH;
  sBreakDeadTimeConfig.AutomaticOutput = TIM_AUTOMATICOUTPUT_DISABLE;
  if (HAL_TIMEx_ConfigBreakDeadTime(&htim1, &sBreakDeadTimeConfig) != HAL_OK)
  {
    Error_Handler();
  }
  HAL_TIM_MspPostInit(&htim1);

}

static void MX_TIM2_Init(void)
{

  TIM_ClockConfigTypeDef sClockSourceConfig = {0};
  TIM_MasterConfigTypeDef sMasterConfig = {0};

  htim2.Instance = TIM2;
  htim2.Init.Prescaler = 83;
  htim2.Init.CounterMode = TIM_COUNTERMODE_UP;
  htim2.Init.Period = 1000;
  htim2.Init.ClockDivision = TIM_CLOCKDIVISION_DIV1;
  htim2.Init.AutoReloadPreload = TIM_AUTORELOAD_PRELOAD_ENABLE;
  if (HAL_TIM_Base_Init(&htim2) != HAL_OK)
  {
    Error_Handler();
  }
  sClockSourceConfig.ClockSource = TIM_CLOCKSOURCE_INTERNAL;
  if (HAL_TIM_ConfigClockSource(&htim2, &sClockSourceConfig) != HAL_OK)
  {
    Error_Handler();
  }
  sMasterConfig.MasterOutputTrigger = TIM_TRGO_RESET;
  sMasterConfig.MasterSlaveMode = TIM_MASTERSLAVEMODE_DISABLE;
  if (HAL_TIMEx_MasterConfigSynchronization(&htim2, &sMasterConfig) != HAL_OK)
  {
    Error_Handler();
  }

}

static void MX_TIM3_Init(void)
{

  TIM_ClockConfigTypeDef sClockSourceConfig = {0};
  TIM_MasterConfigTypeDef sMasterConfig = {0};
  TIM_OC_InitTypeDef sConfigOC = {0};

  htim3.Instance = TIM3;
  htim3.Init.Prescaler = 84-1;
  htim3.Init.CounterMode = TIM_COUNTERMODE_UP;
  htim3.Init.Period = 20000-1;
  htim3.Init.ClockDivision = TIM_CLOCKDIVISION_DIV1;
  htim3.Init.AutoReloadPreload = TIM_AUTORELOAD_PRELOAD_DISABLE;
  if (HAL_TIM_Base_Init(&htim3) != HAL_OK)
  {
    Error_Handler();
  }
  sClockSourceConfig.ClockSource = TIM_CLOCKSOURCE_INTERNAL;
  if (HAL_TIM_ConfigClockSource(&htim3, &sClockSourceConfig) != HAL_OK)
  {
    Error_Handler();
  }
  if (HAL_TIM_PWM_Init(&htim3) != HAL_OK)
  {
    Error_Handler();
  }
  sMasterConfig.MasterOutputTrigger = TIM_TRGO_RESET;
  sMasterConfig.MasterSlaveMode = TIM_MASTERSLAVEMODE_DISABLE;
  if (HAL_TIMEx_MasterConfigSynchronization(&htim3, &sMasterConfig) != HAL_OK)
  {
    Error_Handler();
  }
  sConfigOC.OCMode = TIM_OCMODE_PWM1;
  sConfigOC.Pulse = 0;
  sConfigOC.OCPolarity = TIM_OCPOLARITY_HIGH;
  sConfigOC.OCFastMode = TIM_OCFAST_DISABLE;
  if (HAL_TIM_PWM_ConfigChannel(&htim3, &sConfigOC, TIM_CHANNEL_1) != HAL_OK)
  {
    Error_Handler();
  }
  HAL_TIM_MspPostInit(&htim3);

}

static void MX_USART1_UART_Init(void)
{

  huart1.Instance = USART1;
  huart1.Init.BaudRate = 9600;
  huart1.Init.WordLength = UART_WORDLENGTH_8B;
  huart1.Init.StopBits = UART_STOPBITS_1;
  huart1.Init.Parity = UART_PARITY_NONE;
  huart1.Init.Mode = UART_MODE_TX_RX;
  huart1.Init.HwFlowCtl = UART_HWCONTROL_NONE;
  huart1.Init.OverSampling = UART_OVERSAMPLING_16;
  if (HAL_UART_Init(&huart1) != HAL_OK)
  {
    Error_Handler();
  }

}

static void MX_USART2_UART_Init(void)
{

  huart2.Instance = USART2;
  huart2.Init.BaudRate = 9600;
  huart2.Init.WordLength = UART_WORDLENGTH_8B;
  huart2.Init.StopBits = UART_STOPBITS_1;
  huart2.Init.Parity = UART_PARITY_NONE;
  huart2.Init.Mode = UART_MODE_TX_RX;
  huart2.Init.HwFlowCtl = UART_HWCONTROL_NONE;
  huart2.Init.OverSampling = UART_OVERSAMPLING_16;
  if (HAL_UART_Init(&huart2) != HAL_OK)
  {
    Error_Handler();
  }

}

static void MX_USART3_UART_Init(void)
{

  huart3.Instance = USART3;
  huart3.Init.BaudRate = 115200;
  huart3.Init.WordLength = UART_WORDLENGTH_8B;
  huart3.Init.StopBits = UART_STOPBITS_1;
  huart3.Init.Parity = UART_PARITY_NONE;
  huart3.Init.Mode = UART_MODE_TX_RX;
  huart3.Init.HwFlowCtl = UART_HWCONTROL_NONE;
  huart3.Init.OverSampling = UART_OVERSAMPLING_16;
  if (HAL_UART_Init(&huart3) != HAL_OK)
  {
    Error_Handler();
  }

}

static void MX_USART6_UART_Init(void)
{

  huart6.Instance = USART6;
  huart6.Init.BaudRate = 9600;
  huart6.Init.WordLength = UART_WORDLENGTH_8B;
  huart6.Init.StopBits = UART_STOPBITS_1;
  huart6.Init.Parity = UART_PARITY_NONE;
  huart6.Init.Mode = UART_MODE_TX_RX;
  huart6.Init.HwFlowCtl = UART_HWCONTROL_NONE;
  huart6.Init.OverSampling = UART_OVERSAMPLING_16;
  if (HAL_UART_Init(&huart6) != HAL_OK)
  {
    Error_Handler();
  }

}

static void MX_DMA_Init(void)
{

  /* DMA controller clock enable */
  __HAL_RCC_DMA1_CLK_ENABLE();
  __HAL_RCC_DMA2_CLK_ENABLE();

  /* DMA interrupt init */
  /* DMA1_Stream0_IRQn interrupt configuration */
  HAL_NVIC_SetPriority(DMA1_Stream0_IRQn, 5, 0);
  HAL_NVIC_EnableIRQ(DMA1_Stream0_IRQn);
  /* DMA1_Stream1_IRQn interrupt configuration */
  HAL_NVIC_SetPriority(DMA1_Stream1_IRQn, 5, 0);
  HAL_NVIC_EnableIRQ(DMA1_Stream1_IRQn);
  /* DMA1_Stream2_IRQn interrupt configuration */
  HAL_NVIC_SetPriority(DMA1_Stream2_IRQn, 5, 0);
  HAL_NVIC_EnableIRQ(DMA1_Stream2_IRQn);
  /* DMA1_Stream3_IRQn interrupt configuration */
  HAL_NVIC_SetPriority(DMA1_Stream3_IRQn, 5, 0);
  HAL_NVIC_EnableIRQ(DMA1_Stream3_IRQn);
  /* DMA1_Stream4_IRQn interrupt configuration */
  HAL_NVIC_SetPriority(DMA1_Stream4_IRQn, 5, 0);
  HAL_NVIC_EnableIRQ(DMA1_Stream4_IRQn);
  /* DMA1_Stream5_IRQn interrupt configuration */
  HAL_NVIC_SetPriority(DMA1_Stream5_IRQn, 5, 0);
  HAL_NVIC_EnableIRQ(DMA1_Stream5_IRQn);
  /* DMA1_Stream6_IRQn interrupt configuration */
  HAL_NVIC_SetPriority(DMA1_Stream6_IRQn, 5, 0);
  HAL_NVIC_EnableIRQ(DMA1_Stream6_IRQn);
  /* DMA1_Stream7_IRQn interrupt configuration */
  HAL_NVIC_SetPriority(DMA1_Stream7_IRQn, 5, 0);
  HAL_NVIC_EnableIRQ(DMA1_Stream7_IRQn);
  /* DMA2_Stream0_IRQn interrupt configuration */
  HAL_NVIC_SetPriority(DMA2_Stream0_IRQn, 5, 0);
  HAL_NVIC_EnableIRQ(DMA2_Stream0_IRQn);
  /* DMA2_Stream1_IRQn interrupt configuration */
  HAL_NVIC_SetPriority(DMA2_Stream1_IRQn, 5, 0);
  HAL_NVIC_EnableIRQ(DMA2_Stream1_IRQn);
  /* DMA2_Stream2_IRQn interrupt configuration */
  HAL_NVIC_SetPriority(DMA2_Stream2_IRQn, 5, 0);
  HAL_NVIC_EnableIRQ(DMA2_Stream2_IRQn);
  /* DMA2_Stream3_IRQn interrupt configuration */
  HAL_NVIC_SetPriority(DMA2_Stream3_IRQn, 5, 0);
  HAL_NVIC_EnableIRQ(DMA2_Stream3_IRQn);
  /* DMA2_Stream4_IRQn interrupt configuration */
  HAL_NVIC_SetPriority(DMA2_Stream4_IRQn, 5, 0);
  HAL_NVIC_EnableIRQ(DMA2_Stream4_IRQn);
  /* DMA2_Stream5_IRQn interrupt configuration */
  HAL_NVIC_SetPriority(DMA2_Stream5_IRQn, 5, 0);
  HAL_NVIC_EnableIRQ(DMA2_Stream5_IRQn);
  /* DMA2_Stream6_IRQn interrupt configuration */
  HAL_NVIC_SetPriority(DMA2_Stream6_IRQn, 5, 0);
  HAL_NVIC_EnableIRQ(DMA2_Stream6_IRQn);

}

static void MX_GPIO_Init(void)
{
  GPIO_InitTypeDef GPIO_InitStruct = {0};

  /* GPIO Ports Clock Enable */
  __HAL_RCC_GPIOE_CLK_ENABLE();
  __HAL_RCC_GPIOC_CLK_ENABLE();
  __HAL_RCC_GPIOF_CLK_ENABLE();
  __HAL_RCC_GPIOH_CLK_ENABLE();
  __HAL_RCC_GPIOA_CLK_ENABLE();
  __HAL_RCC_GPIOB_CLK_ENABLE();
  __HAL_RCC_GPIOG_CLK_ENABLE();
  __HAL_RCC_GPIOD_CLK_ENABLE();

  /*Configure GPIO pin Output Level */
  HAL_GPIO_WritePin(LORA_M0_GPIO_Port, LORA_M0_Pin, GPIO_PIN_SET);

  /*Configure GPIO pin Output Level */
  HAL_GPIO_WritePin(GPIOB, LD1_Pin|IMU_CS_Pin|LD3_Pin|LD2_Pin, GPIO_PIN_RESET);

  /*Configure GPIO pin Output Level */
  HAL_GPIO_WritePin(GPIOG, LORA_M1_Pin|LORA_CS_Pin, GPIO_PIN_SET);

  /*Configure GPIO pin Output Level */
  HAL_GPIO_WritePin(MAG_CS_GPIO_Port, MAG_CS_Pin, GPIO_PIN_SET);

  /*Configure GPIO pin Output Level */
  HAL_GPIO_WritePin(GPIOD, CS_SD_Pin|CS_BARO_Pin, GPIO_PIN_RESET);

  /*Configure GPIO pin : USER_Btn_Pin */
  GPIO_InitStruct.Pin = USER_Btn_Pin;
  GPIO_InitStruct.Mode = GPIO_MODE_IT_RISING;
  GPIO_InitStruct.Pull = GPIO_NOPULL;
  HAL_GPIO_Init(USER_Btn_GPIO_Port, &GPIO_InitStruct);

  /*Configure GPIO pin : LORA_M0_Pin */
  GPIO_InitStruct.Pin = LORA_M0_Pin;
  GPIO_InitStruct.Mode = GPIO_MODE_OUTPUT_PP;
  GPIO_InitStruct.Pull = GPIO_NOPULL;
  GPIO_InitStruct.Speed = GPIO_SPEED_FREQ_VERY_HIGH;
  HAL_GPIO_Init(LORA_M0_GPIO_Port, &GPIO_InitStruct);

  /*Configure GPIO pins : LD1_Pin LD3_Pin LD2_Pin */
  GPIO_InitStruct.Pin = LD1_Pin|LD3_Pin|LD2_Pin;
  GPIO_InitStruct.Mode = GPIO_MODE_OUTPUT_PP;
  GPIO_InitStruct.Pull = GPIO_NOPULL;
  GPIO_InitStruct.Speed = GPIO_SPEED_FREQ_LOW;
  HAL_GPIO_Init(GPIOB, &GPIO_InitStruct);

  /*Configure GPIO pins : IMU_CS_Pin MAG_CS_Pin */
  GPIO_InitStruct.Pin = IMU_CS_Pin|MAG_CS_Pin;
  GPIO_InitStruct.Mode = GPIO_MODE_OUTPUT_PP;
  GPIO_InitStruct.Pull = GPIO_NOPULL;
  GPIO_InitStruct.Speed = GPIO_SPEED_FREQ_VERY_HIGH;
  HAL_GPIO_Init(GPIOB, &GPIO_InitStruct);

  /*Configure GPIO pin : LORA_DIO0_Pin */
  GPIO_InitStruct.Pin = LORA_DIO0_Pin;
  GPIO_InitStruct.Mode = GPIO_MODE_IT_RISING;
  GPIO_InitStruct.Pull = GPIO_NOPULL;
  HAL_GPIO_Init(LORA_DIO0_GPIO_Port, &GPIO_InitStruct);

  /*Configure GPIO pins : LORA_M1_Pin LORA_CS_Pin */
  GPIO_InitStruct.Pin = LORA_M1_Pin|LORA_CS_Pin;
  GPIO_InitStruct.Mode = GPIO_MODE_OUTPUT_PP;
  GPIO_InitStruct.Pull = GPIO_NOPULL;
  GPIO_InitStruct.Speed = GPIO_SPEED_FREQ_VERY_HIGH;
  HAL_GPIO_Init(GPIOG, &GPIO_InitStruct);

  /*Configure GPIO pins : CS_SD_Pin CS_BARO_Pin */
  GPIO_InitStruct.Pin = CS_SD_Pin|CS_BARO_Pin;
  GPIO_InitStruct.Mode = GPIO_MODE_OUTPUT_PP;
  GPIO_InitStruct.Pull = GPIO_NOPULL;
  GPIO_InitStruct.Speed = GPIO_SPEED_FREQ_LOW;
  HAL_GPIO_Init(GPIOD, &GPIO_InitStruct);

  /* EXTI interrupt init*/
  HAL_NVIC_SetPriority(EXTI2_IRQn, 5, 0);
  HAL_NVIC_EnableIRQ(EXTI2_IRQn);

  HAL_NVIC_SetPriority(EXTI15_10_IRQn, 5, 0);
  HAL_NVIC_EnableIRQ(EXTI15_10_IRQn);

}

void StartDefaultTask(void *argument)
{
  for(;;)
  {
    osDelay(1);
  }
}

void HAL_TIM_PeriodElapsedCallback(TIM_HandleTypeDef *htim)
{
  if (htim->Instance == TIM4) {
    HAL_IncTick();
  }
}

void Error_Handler(void)
{
  __disable_irq();
  while (1)
  {
  }
}

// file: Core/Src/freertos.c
/* USER CODE BEGIN Header */
/**
  ******************************************************************************
  * File Name          : freertos.c
  * Description        : Code for freertos applications
  ******************************************************************************
  * @attention
  *
  * Copyright (c) 2025 STMicroelectronics.
  * All rights reserved.
  *
  * This software is licensed under terms that can be found in the LICENSE file
  * in the root directory of this software component.
  * If no LICENSE file comes with this software, it is provided AS-IS.
  *
  ******************************************************************************
  */
/* USER CODE END Header */

#include "FreeRTOS.h"
#include "task.h"
#include "main.h"

/* USER CODE BEGIN Includes */
#include <stdio.h>
/* USER CODE END Includes */

/* Hook prototypes */
void configureTimerForRunTimeStats(void);
unsigned long getRunTimeCounterValue(void);

/* USER CODE BEGIN 1 */
/* Functions needed when configGENERATE_RUN_TIME_STATS is on */
__weak void configureTimerForRunTimeStats(void)
{

}

__weak unsigned long getRunTimeCounterValue(void)
{
return 0;
}
/* USER CODE END 1 */

/* USER CODE BEGIN Application */

/* Stack overflow hook - called when a task overflows its stack */
void vApplicationStackOverflowHook(TaskHandle_t xTask, char *pcTaskName)
{
    printf("\r\n\r\n!!! STACK OVERFLOW in task: %s !!!\r\n", pcTaskName);
    printf("System halted. Increase stack size for this task.\r\n");

    /* Halt the system - infinite loop with interrupts disabled */
    taskDISABLE_INTERRUPTS();
    for(;;);
}

/* Malloc failed hook - called when heap allocation fails */
void vApplicationMallocFailedHook(void)
{
    printf("\r\n\r\n!!! HEAP EXHAUSTED - malloc failed !!!\r\n");
    printf("System halted. Reduce memory usage or increase heap.\r\n");

    /* Halt the system */
    taskDISABLE_INTERRUPTS();
    for(;;);
}
/* USER CODE END Application */
